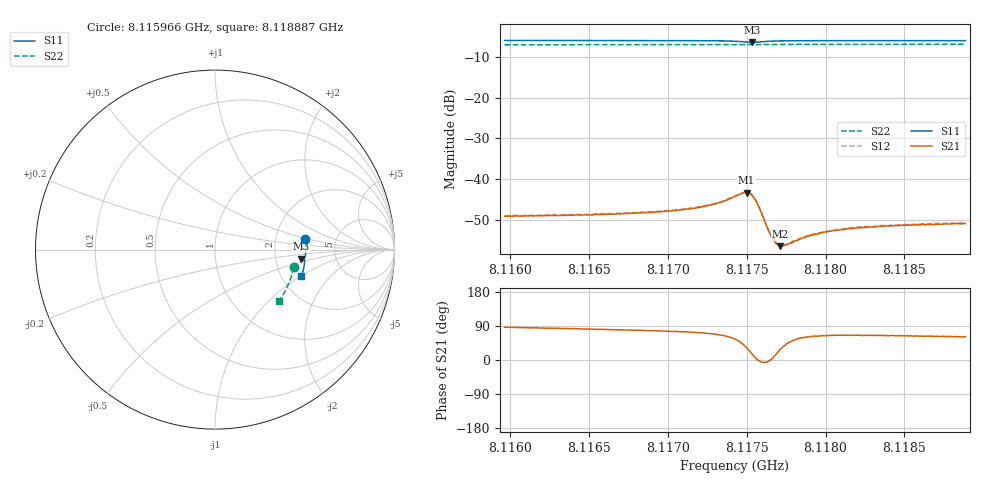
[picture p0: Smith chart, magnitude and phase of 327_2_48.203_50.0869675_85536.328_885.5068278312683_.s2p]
#  HZ  S  RI  R  50.00
! Rohde & Schwarz Vector Network Analyzer
! Rohde-Schwarz,ZNB20-2Port,1311601062101988,3.16
! Created: UTC 3/20/2024, 11:50:44 AM
! freq[Hz]  re:S11  im:S11  re:S21  im:S21  re:S12  im:S12  re:S22  im:S22
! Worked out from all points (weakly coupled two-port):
!   401 points, 8.115966 GHz to 8.118887 GHz, reference 50 ohm
!   highest |S21| = -43.32 dB at 8.117499 GHz (marker M1); lowest = -56.5 dB at 8.117711 GHz (marker M2)
!   lowest |S11| = -6.4 dB at 8.117536 GHz (marker M3), VSWR 2.85, Z = 140 - j18.4 ohm
!   |S11| at or under -10 dB: nowhere
!   |S22| runs from -7.0 to -6.8 dB; largest |S21 - S12| = 0.00022
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8.1159662e9  0.5038 0.0606  0.000213 0.00347  0.000261 0.00351  0.4374 -0.099
8.1164553e9  0.5061 0.0239  0.000512 0.00357  0.000533 0.00366  0.4299 -0.132
8.1169445e9  0.5055 -0.0137  0.000901 0.00385  0.000962 0.00389  0.4199 -0.1647
8.1170905e9  0.5046 -0.0255  0.00112 0.00403  0.00119 0.0041  0.4164 -0.1741
8.1172219e9  0.5028 -0.0367  0.00145 0.00435  0.00154 0.00439  0.4132 -0.183
8.1173388e9  0.4996 -0.0478  0.00215 0.00475  0.00224 0.0048  0.41 -0.1906
8.1174264e9  0.4932 -0.0564  0.0035 0.00502  0.00363 0.00508  0.4071 -0.1961
8.1174702e9  0.4867 -0.0587  0.00479 0.00462  0.00493 0.00465  0.4057 -0.1988
8.1174994e9  0.4816 -0.0572  0.00574 0.00369  0.00588 0.0037  0.4048 -0.2005
8.1175213e9  0.4789 -0.0539  0.00614 0.00252  0.00625 0.00251  0.4041 -0.2016
8.1175359e9  0.4784 -0.0507  0.00602 0.00161  0.00618 0.00158  0.4036 -0.2024
8.1175505e9  0.4796 -0.0478  0.00568 0.000802  0.00578 0.000788  0.4034 -0.2031
8.1175724e9  0.4829 -0.0449  0.00478 -4.7e-05  0.00485 -4.33e-05  0.403 -0.2043
8.1176381e9  0.4936 -0.0476  0.00233 -0.000138  0.00235 -0.000136  0.4016 -0.2086
8.11766e9  0.4953 -0.0501  0.00189 8.37e-05  0.00195 0.000102  0.4009 -0.2099
8.1176819e9  0.4969 -0.0527  0.00162 0.00038  0.00165 0.000385  0.4003 -0.2115
8.1177111e9  0.4979 -0.056  0.00133 0.000687  0.00142 0.000712  0.3995 -0.2134
8.1177476e9  0.4987 -0.0601  0.00118 0.000985  0.00119 0.00107  0.3985 -0.2156
8.1179155e9  0.4986 -0.0759  0.000962 0.0018  0.000983 0.00182  0.3932 -0.2264
8.1181419e9  0.4958 -0.0942  0.00101 0.00222  0.00103 0.00223  0.3857 -0.2403
8.1184047e9  0.4917 -0.1142  0.00115 0.00238  0.00119 0.0024  0.3761 -0.2562
8.1188866e9  0.4819 -0.149  0.00136 0.00249  0.0014 0.0025  0.3572 -0.2842
